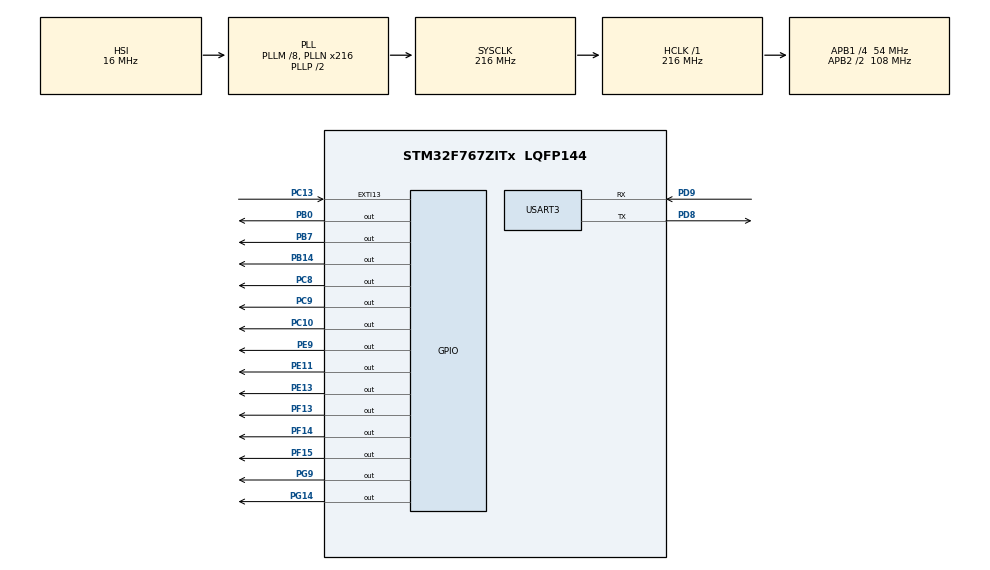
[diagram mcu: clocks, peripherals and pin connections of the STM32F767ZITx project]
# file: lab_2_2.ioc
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Mcu.Family=STM32F7
Mcu.Name=STM32F767ZITx
Mcu.Package=LQFP144
NVIC.PriorityGroup=NVIC_PRIORITYGROUP_2
NVIC.TIM1_UP_TIM10_IRQn=true\:1\:0\:true\:false\:true\:true\:true
NVIC.TIM2_IRQn=true\:2\:0\:true\:false\:true\:true\:true
PB0.Signal=GPIO_Output
PB14.Signal=GPIO_Output
PB7.Signal=GPIO_Output
PC0.Signal=ADCx_IN10
PC10.Signal=GPIO_Output
PC13.Signal=GPXTI13
PC8.Signal=GPIO_Output
PC9.Signal=GPIO_Output
PD8.Mode=Asynchronous
PD8.Signal=USART3_TX
PD9.Mode=Asynchronous
PD9.Signal=USART3_RX
PE11.Signal=GPIO_Output
PE13.Signal=GPIO_Output
PE9.Signal=GPIO_Output
PF13.Signal=GPIO_Output
PF14.Signal=GPIO_Output
PF15.Signal=GPIO_Output
PG14.Signal=GPIO_Output
PG9.Signal=GPIO_Output
ProjectManager.HeapSize=0x200
ProjectManager.StackSize=0x400
ProjectManager.TargetToolchain=MDK-ARM V5.27
RCC.AHBFreq_Value=216000000
RCC.APB1CLKDivider=RCC_HCLK_DIV4
RCC.APB1Freq_Value=54000000
RCC.APB1TimFreq_Value=108000000
RCC.APB2CLKDivider=RCC_HCLK_DIV2
RCC.APB2Freq_Value=108000000
RCC.APB2TimFreq_Value=216000000
RCC.CortexFreq_Value=216000000
RCC.HCLKFreq_Value=216000000
RCC.HSE_VALUE=25000000
RCC.HSI_VALUE=16000000
RCC.LSE_VALUE=32768
RCC.PLLM=8
RCC.PLLN=216
RCC.SYSCLKFreq_VALUE=216000000
RCC.SYSCLKSource=RCC_SYSCLKSOURCE_PLLCLK
RCC.USBFreq_Value=216000000
RCC.VCOOutputFreq_Value=432000000
SH.ADCx_IN10.0=ADC1_IN10
USART3.Parity=PARITY_NONE
USART3.VirtualMode-Asynchronous=VM_ASYNC
VP_TIM1_VS_ClockSourceINT.Mode=Internal
VP_TIM2_VS_ClockSourceINT.Mode=Internal
board=custom

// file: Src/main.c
/* USER CODE BEGIN Header */
/**
  ******************************************************************************
  * @file           : main.c
  * @brief          : Main program body
  ******************************************************************************
  * @attention
  *
  * <h2><center>&copy; Copyright (c) 2020 STMicroelectronics.
  * All rights reserved.</center></h2>
  *
  * This software component is licensed by ST under BSD 3-Clause license,
  * the "License"; You may not use this file except in compliance with the
  * License. You may obtain a copy of the License at:
  *                        opensource.org/licenses/BSD-3-Clause
  *
  ******************************************************************************
  */
/* USER CODE END Header */

#include "main.h"
#include "tim.h"
#include "usart.h"
#include "gpio.h"

/* USER CODE BEGIN Includes */
#include "stdio.h"
#include "string.h"
/* USER CODE END Includes */

/* USER CODE BEGIN PD */
#define LAB 61
/* USER CODE END PD */

/* USER CODE BEGIN PV */
#if LAB==11
uint8_t num=0;
#elif LAB == 22
#elif LAB == 23
uint32_t ledState ;

#elif LAB == 24
uint32_t ledTemp;
uint32_t initLed = 1;
uint16_t bitNum[8];
uint16_t shift = 0;

#elif LAB == 33
char input;
char display[] = "Input =>";
char newLine[] ="\r\n";
char quit[] = "QUIT";
#elif LAB == 34
char description[]="Display Blinking LED PRESS (r, g) \r\nDisplay Group Members PRESS m \r\nQuit PRESS q\r\n";
char question[]="\tInput =>";
char answer;
char quit[] = "QUIT";
char unknown[] = "Unknown Command \r\n";
char member[]="61010707 \r\nPasawee Laearun \r\n";
int isDisplay=0;
char newLine[] ="\r\n";

#elif LAB == 41
#elif LAB ==01
	uint8_t n;
#elif LAB ==02
char display[] = "07P";
#elif LAB == 54
volatile uint32_t adc_val = 0;
#elif LAB == 55
uint32_t adc_val[8000];
char newLine[] ="\r\n";
//char display[] = "07P";
#endif

#if LAB ==61
uint32_t count;
char newLine[] ="\r\n";
char display[] = "Hellor";
#endif

/* USER CODE END PV */

void SystemClock_Config(void);
/* USER CODE BEGIN PFP */
void bitConvert(uint32_t);
void displayHEX(uint32_t);
void LedControl(GPIO_PinState LED3,GPIO_PinState LED2,GPIO_PinState LED1,GPIO_PinState LED0);
#if LAB ==55
void HAL_ADC_ConvCpltCallback(ADC_HandleTypeDef *AdcHandle)
 {
 HAL_GPIO_WritePin(GPIOB,GPIO_PIN_7,GPIO_PIN_RESET );
 }

void HAL_ADC_ConvHalfCpltCallback(ADC_HandleTypeDef *AdcHandle)
 {
 HAL_GPIO_WritePin(GPIOB,GPIO_PIN_7,GPIO_PIN_SET);
 }
#endif

#if LAB == 61
void displayNumber(uint32_t number){
		char display[8000];
		sprintf(display, "%d ", number);
		while(__HAL_UART_GET_FLAG(&huart3,UART_FLAG_TC)==RESET){}
		HAL_UART_Transmit(&huart3, (uint8_t*) display, strlen(display),1000);

}
#endif

/* USER CODE END PFP */

int main(void)
{

  /* MCU Configuration--------------------------------------------------------*/

  /* Reset of all peripherals, Initializes the Flash interface and the Systick. */
  HAL_Init();

  /* Configure the system clock */
  SystemClock_Config();

  /* Initialize all configured peripherals */
  MX_GPIO_Init();
  MX_USART3_UART_Init();
  MX_TIM1_Init();
  MX_TIM2_Init();
  /* USER CODE BEGIN 2 */
	#if LAB == 24
  GPIOG->ODR = 0xFFFFFFFF;
	GPIOF->ODR = 0xFFFFFFFF;
	GPIOE->ODR = 0xFFFFFFFF;
	#endif
	#if LAB == 34
	HAL_GPIO_WritePin(GPIOG,GPIO_PIN_9,GPIO_PIN_SET);
	HAL_GPIO_WritePin(GPIOG,GPIO_PIN_14,GPIO_PIN_SET);
	#endif
	#if LAB == 54
	HAL_ADC_Start(&hadc1);
	#endif
  /* USER CODE END 2 */

  /* Infinite loop */
  /* USER CODE BEGIN WHILE */
	#if LAB ==55
	 HAL_ADC_Start_DMA(&hadc1,adc_val,8000);
	#endif
	#if LAB == 61
	HAL_TIM_Base_Start_IT(&htim1);
	#endif
 while (1)
  {
    /* USER CODE END WHILE */

    /* USER CODE BEGIN 3 */

		while(__HAL_UART_GET_FLAG(&huart3,UART_FLAG_TC)==RESET){}
		HAL_UART_Transmit(&huart3, (uint8_t*) newLine, strlen(newLine),1000);

  /* USER CODE END 3 */
}

void SystemClock_Config(void)
{
  RCC_OscInitTypeDef RCC_OscInitStruct = {0};
  RCC_ClkInitTypeDef RCC_ClkInitStruct = {0};
  RCC_PeriphCLKInitTypeDef PeriphClkInitStruct = {0};

  /** Configure the main internal regulator output voltage
  */
  __HAL_RCC_PWR_CLK_ENABLE();
  __HAL_PWR_VOLTAGESCALING_CONFIG(PWR_REGULATOR_VOLTAGE_SCALE1);
  /** Initializes the CPU, AHB and APB busses clocks
  */
  RCC_OscInitStruct.OscillatorType = RCC_OSCILLATORTYPE_HSI;
  RCC_OscInitStruct.HSIState = RCC_HSI_ON;
  RCC_OscInitStruct.HSICalibrationValue = RCC_HSICALIBRATION_DEFAULT;
  RCC_OscInitStruct.PLL.PLLState = RCC_PLL_ON;
  RCC_OscInitStruct.PLL.PLLSource = RCC_PLLSOURCE_HSI;
  RCC_OscInitStruct.PLL.PLLM = 8;
  RCC_OscInitStruct.PLL.PLLN = 216;
  RCC_OscInitStruct.PLL.PLLP = RCC_PLLP_DIV2;
  RCC_OscInitStruct.PLL.PLLQ = 2;
  if (HAL_RCC_OscConfig(&RCC_OscInitStruct) != HAL_OK)
  {
    Error_Handler();
  }
  /** Activate the Over-Drive mode
  */
  if (HAL_PWREx_EnableOverDrive() != HAL_OK)
  {
    Error_Handler();
  }
  /** Initializes the CPU, AHB and APB busses clocks
  */
  RCC_ClkInitStruct.ClockType = RCC_CLOCKTYPE_HCLK|RCC_CLOCKTYPE_SYSCLK
                              |RCC_CLOCKTYPE_PCLK1|RCC_CLOCKTYPE_PCLK2;
  RCC_ClkInitStruct.SYSCLKSource = RCC_SYSCLKSOURCE_PLLCLK;
  RCC_ClkInitStruct.AHBCLKDivider = RCC_SYSCLK_DIV1;
  RCC_ClkInitStruct.APB1CLKDivider = RCC_HCLK_DIV4;
  RCC_ClkInitStruct.APB2CLKDivider = RCC_HCLK_DIV2;

  if (HAL_RCC_ClockConfig(&RCC_ClkInitStruct, FLASH_LATENCY_7) != HAL_OK)
  {
    Error_Handler();
  }
  PeriphClkInitStruct.PeriphClockSelection = RCC_PERIPHCLK_USART3;
  PeriphClkInitStruct.Usart3ClockSelection = RCC_USART3CLKSOURCE_PCLK1;
  if (HAL_RCCEx_PeriphCLKConfig(&PeriphClkInitStruct) != HAL_OK)
  {
    Error_Handler();
  }
}

/* USER CODE BEGIN 4 */
#if LAB == 24
void bitConvert(uint32_t ledTemp){
		for(int index = 0 ; index <= 7 ; index++){
			bitNum[index] = (ledTemp >> index) & 0x01;
		}
		GPIOG->ODR = ~(bitNum[7] <<9 | bitNum[6] << 14);
		GPIOF->ODR =~(bitNum[5] <<15 | bitNum[3] <<14 | bitNum[0] <<13);
		GPIOE->ODR = ~(bitNum[4]<<13 | bitNum[2] << 11 | bitNum[1] <<9);
}

#elif LAB == 41
void HAL_GPIO_EXTI_Callback(uint16_t GPIO_Pin)
{
	if(GPIO_Pin == GPIO_PIN_13){
		HAL_UART_Transmit(&huart3,(uint8_t *)"---",3,100);
		HAL_Delay(200);
		for(int i = 0 ; i<20;i++){
			HAL_UART_Transmit(&huart3,(uint8_t *)"B",1,100);
			HAL_Delay(200);
		}
	}

	if(GPIO_Pin == GPIO_PIN_0){
		HAL_UART_Transmit(&huart3,(uint8_t *)"---",3,100);
		HAL_Delay(200);
		for(int i = 0 ; i<20;i++){
			HAL_UART_Transmit(&huart3,(uint8_t *)"E",1,100);
			HAL_Delay(200);
		}
	}
}
#elif LAB == 54
void displayHEX(uint32_t input){
		char display[80];
		sprintf(display, "ADC_CH10 0x%08x Vin = %f v raw value = %d \r\n ", input, (input * 3.3)/4095, input);

		while(__HAL_UART_GET_FLAG(&huart3,UART_FLAG_TC)==RESET){}
    HAL_UART_Transmit(&huart3, (uint8_t*) display, strlen(display),1000);

		if(input > 0 && input < 819){
		 // LEVEL 1
			LedControl(GPIO_PIN_SET,GPIO_PIN_SET,GPIO_PIN_SET,GPIO_PIN_SET);
		}
		else if(input > 819 && input < 1638){
		 // LEVEL 2
			LedControl(GPIO_PIN_SET,GPIO_PIN_SET,GPIO_PIN_SET,GPIO_PIN_RESET);
		}	else if(input > 1638 && input < 2457){
		 // LEVEL 2
			LedControl(GPIO_PIN_SET,GPIO_PIN_SET,GPIO_PIN_RESET,GPIO_PIN_RESET);
		}
		else if(input > 2457 && input < 3276){
		 // LEVEL 2
			LedControl(GPIO_PIN_SET,GPIO_PIN_RESET,GPIO_PIN_RESET,GPIO_PIN_RESET);
		}
		else if(input > 3276 && input < 4095){
		 // LEVEL 2
			LedControl(GPIO_PIN_RESET,GPIO_PIN_RESET,GPIO_PIN_RESET,GPIO_PIN_RESET);
		}
		else{
		}
}

void LedControl(GPIO_PinState LED3,GPIO_PinState LED2,GPIO_PinState LED1,GPIO_PinState LED0){
			HAL_GPIO_WritePin(GPIOF,GPIO_PIN_13,LED0);
			HAL_GPIO_WritePin(GPIOE,GPIO_PIN_9,LED1);
			HAL_GPIO_WritePin(GPIOE,GPIO_PIN_11,LED2);
			HAL_GPIO_WritePin(GPIOF,GPIO_PIN_14,LED3);
}
#elif LAB == 55

#endif
#if LAB ==61

#endif
/* USER CODE END 4 */

void Error_Handler(void)
{
}

/************************ (C) COPYRIGHT STMicroelectronics *****END OF FILE****/
